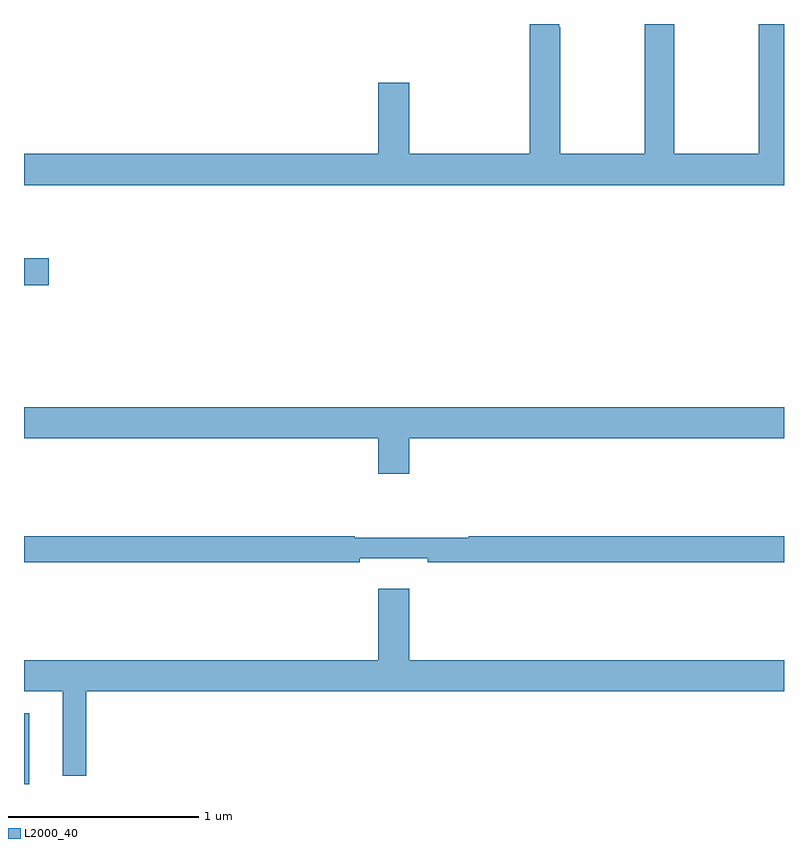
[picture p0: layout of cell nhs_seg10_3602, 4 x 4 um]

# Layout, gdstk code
import gdstk
lib = gdstk.Library(unit=1e-6, precision=1e-09)
def R(c, l, rs):  # rectangles x0, y0, x1, y1
    for r in rs: c.add(gdstk.rectangle(r[:2], r[2:], *l))
def P(c, l, *ps):  # polygons
    for p in ps: c.add(gdstk.Polygon(p, *l))
L2000_40 = (2000, 40)

nhs_seg10_3602 = lib.new_cell('nhs_seg10_3602')
R(nhs_seg10_3602, L2000_40, [(307,1294.5,307.027,1294.873), (307,1297.124,307.129,1297.266)])
P(nhs_seg10_3602, L2000_40, [(311,1298.5),(310.867,1298.5),(310.867,1297.816),(310.422,1297.816),(310.422,1298.5),(310.267,1298.5),(310.267,1297.816),(309.822,1297.816),(309.822,1298.483),(309.817,1298.483),(309.817,1298.5),(309.662,1298.5),(309.662,1297.816),(309.028,1297.816),(309.028,1298.191),(308.864,1298.191),(308.864,1297.816),(307,1297.816),(307,1297.652),(311,1297.652)],
  [(309.028,1296.32),(311,1296.32),(311,1296.484),(307,1296.484),(307,1296.32),(308.864,1296.32),(308.864,1296.132),(309.028,1296.132)],
  [(308.768,1295.687),(309.124,1295.687),(309.124,1295.668),(311,1295.668),(311,1295.804),(309.34,1295.804),(309.34,1295.797),(308.74,1295.797),(308.74,1295.804),(307,1295.804),(307,1295.668),(308.768,1295.668)],
  [(307.327,1294.988),(311,1294.988),(311,1295.152),(309.028,1295.152),(309.028,1295.527),(308.864,1295.527),(308.864,1295.152),(307,1295.152),(307,1294.988),(307.205,1294.988),(307.205,1294.544),(307.327,1294.544)])

lib.write_gds('nhs_seg10_3602.gds')
